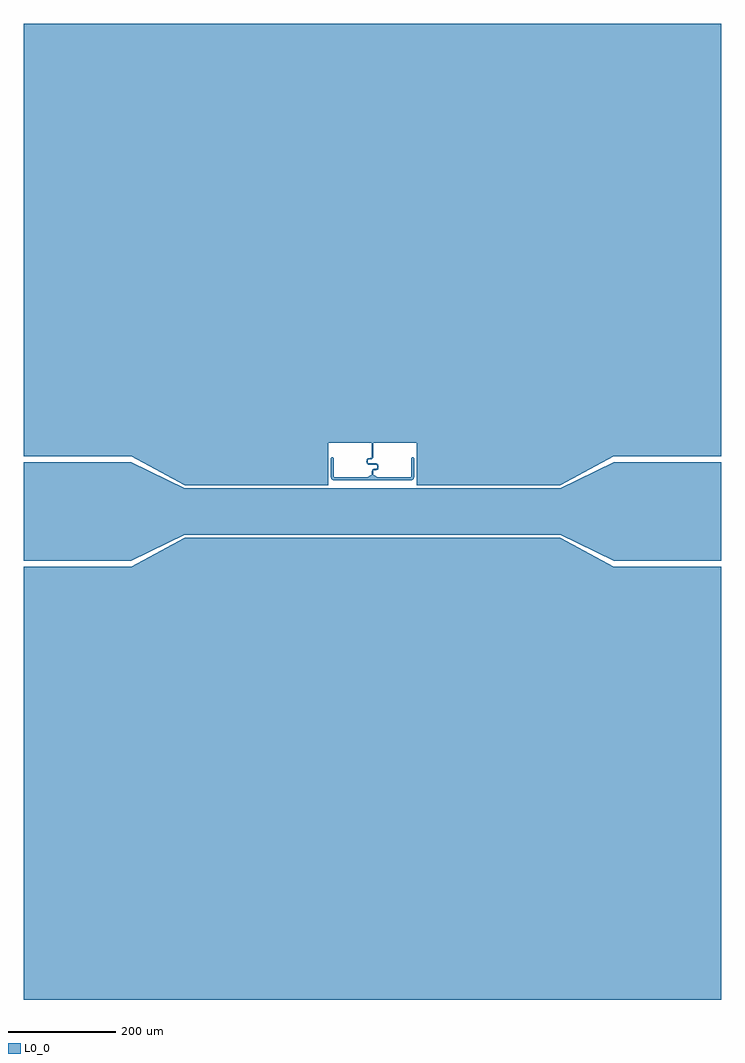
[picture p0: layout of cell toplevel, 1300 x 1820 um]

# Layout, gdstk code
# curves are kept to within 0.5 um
import gdstk
lib = gdstk.Library(unit=1e-6, precision=1e-09)
def P(c, l, *ps):  # polygons
    for p in ps: c.add(gdstk.Polygon(p, *l))
L0_0 = (0, 0)

toplevel = lib.new_cell('toplevel')
P(toplevel, L0_0, [(82.5,128.5),(82.5,48.5),(350,48.5),(450,102.575),(650,102.575),(650,910),(-650,910),(-650,102.575),(-450,102.575),(-350,48.5),(-82.5,48.5),(-82.5,128.5)],
  [(650,-910),(650,-102.575),(450,-102.575),(350,-48.5),(-350,-48.5),(-450,-102.575),(-650,-102.575),(-650,-910)],
  [(-75.109,100.998),(-76.768,100.268),(-77.498,98.609),(-77.481,64.564),(-76.235,60.732),(-73.112,58.753),(71.115,58.507),(75.1,59.642),(77.247,62.888),(77.498,98.609),(75.647,100.915),(73.566,100.548),(72.51,98.718),(72.498,65.165),(71.917,63.608),(-70.62,63.5),(-72.218,63.728),(-72.487,64.812),(-72.521,98.826),(-73.393,100.415)],
  [(1.25,68.5),(1.268,74.807),(1.698,76.425),(2.876,77.127),(7.271,77.357),(9.382,78.165),(10.856,80.116),(11.173,85.56),(10.743,87.159),(9.853,88.446),(8.522,89.302),(6.178,89.74),(-6.708,89.802),(-8.04,90.284),(-8.631,91.391),(-8.709,95.102),(-8.109,96.656),(-6.897,97.171),(-3.147,97.303),(-1.396,97.733),(0.121,98.84),(1.013,100.609),(1.25,128.5),(-1.25,128.5),(-1.399,101.267),(-1.814,100.425),(-2.563,99.96),(-7.673,99.566),(-9.991,98.306),(-11.155,95.691),(-11.247,92.584),(-10.625,89.596),(-9.877,88.577),(-7.565,87.41),(6.015,87.244),(7.533,87.005),(8.558,85.88),(8.75,83.175),(8.274,80.535),(6.656,79.796),(2.027,79.491),(0.644,78.853),(-0.923,76.692),(-1.25,68.5)],
  [(10,63.5),(1.25,68.5),(-1.25,68.5),(-10,63.5)],
  [(-350,43.5),(-450,92),(-650,92),(-650,-92),(-450,-92),(-350,-43.5),(350,-43.5),(450,-92),(650,-92),(650,92),(450,92),(350,43.5)])

lib.write_gds('toplevel.gds')
